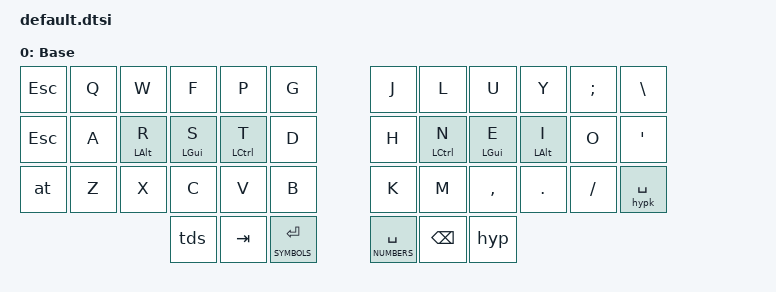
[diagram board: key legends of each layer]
/ {
  keymap {
    compatible = "zmk,keymap";
      Default {
        label = "Base";
        bindings =
         <&kp ESCAPE  &kp Q  &kp W             &kp F             &kp P          &kp G                &kp J              &kp L              &kp U                  &kp Y             &kp SEMICOLON  &kp BACKSLASH
          &kp ESCAPE  &kp A  &hm_l LEFT_ALT R  &hm_l LEFT_GUI S  &hm_l LCTRL T  &kp D                &kp H              &hm_r LCTRL N      &hm_r LEFT_GUI E       &hm_r LEFT_ALT I  &kp O          &kp SQT
          &at         &kp Z  &kp X             &kp C             &kp V          &kp B                &kp K              &kp M              &kp COMMA              &kp DOT           &kp FSLH       &hypk SPACE
                                               &tds              &kp TAB        &lt SYMBOLS ENTER    &lt NUMBERS SPACE  &kp BACKSPACE      &hyp>;  
    };
  };
};
